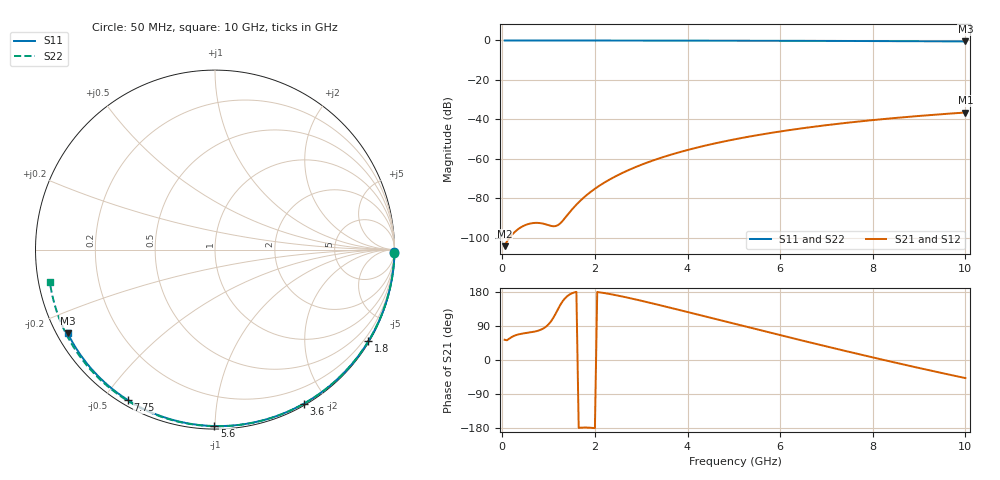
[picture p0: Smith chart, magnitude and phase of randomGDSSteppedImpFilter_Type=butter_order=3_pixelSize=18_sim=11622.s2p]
! freq	dB(S11)	phase(S11)	dB(S12)	phase(S12)
!  dB(S21)	phase(S21)	dB(S22)	phase(S22)
!S-par simulation data
#  GHz  S  DB  R 50
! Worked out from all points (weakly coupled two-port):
!   200 points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, 50 MHz to 10 GHz, reference 50 ohm
!   highest |S21| = -36.57 dB at 10 GHz (marker M1); lowest = -104.4 dB at 50 MHz (marker M2)
!   lowest |S11| = -0.5 dB at 10 GHz (marker M3), VSWR 34.51, Z = 1.55 - j13.2 ohm
!   |S11| at or under -10 dB: nowhere
!   |S22| runs from -0.6 to 0.0 dB; largest |S21 - S12| = 0
!   S11 on the Smith chart (normalised r, x): 50 MHz: open; 1.8 GHz: 0.03, -3.62; 3.6 GHz: 0.02, -1.73; 5.6 GHz: 0.02, -1.00; 7.75 GHz: 0.02, -0.58; 10 GHz: 0.03, -0.26
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0.05  -0.00 -0.9  -104.39 53.4  -104.39 53.4  -0.00 -1.0
0.45  -0.01 -7.8  -94.19 70.0  -94.19 70.0  -0.01 -8.8
0.85  -0.02 -14.7  -92.81 80.9  -92.81 80.9  -0.02 -16.5
1.3  -0.03 -22.4  -91.63 154.5  -91.63 154.5  -0.03 -25.0
1.75  -0.04 -30.0  -79.91 -178.2  -79.91 -178.2  -0.04 -33.5
1.8  -0.04 -30.8  -78.89 -178.2  -78.89 -178.2  -0.04 -34.5
1.95  -0.04 -33.4  -76.11 -179.2  -76.11 -179.2  -0.05 -37.2
2.1  -0.05 -35.9  -73.66 178.6  -73.66 178.6  -0.05 -40.0
2.3  -0.05 -39.2  -70.80 174.6  -70.80 174.6  -0.06 -43.7
2.5  -0.05 -42.5  -68.30 169.9  -68.30 169.9  -0.06 -47.4
2.9  -0.06 -49.0  -64.05 159.2  -64.05 159.2  -0.07 -54.6
3.4  -0.08 -57.0  -59.75 144.7  -59.75 144.7  -0.08 -63.5
3.6  -0.08 -60.1  -58.26 138.7  -58.26 138.7  -0.09 -66.9
4.3  -0.10 -71.0  -53.81 117.4  -53.81 117.4  -0.11 -78.9
5.05  -0.13 -82.2  -50.02 94.4  -50.02 94.4  -0.14 -91.3
5.6  -0.15 -90.2  -47.69 77.7  -47.69 77.7  -0.17 -100.2
6.15  -0.17 -98.1  -45.66 61.1  -45.66 61.1  -0.19 -108.9
6.7  -0.20 -105.8  -43.87 44.7  -43.87 44.7  -0.23 -117.4
7.75  -0.28 -120.1  -41.00 14.0  -41.00 14.0  -0.31 -133.5
8.35  -0.33 -128.2  -39.63 -3.1  -39.63 -3.1  -0.36 -142.7
9.2  -0.41 -139.6  -37.94 -26.6  -37.94 -26.6  -0.45 -155.9
10  -0.50 -150.4  -36.57 -47.7  -36.57 -47.7  -0.56 -168.8
